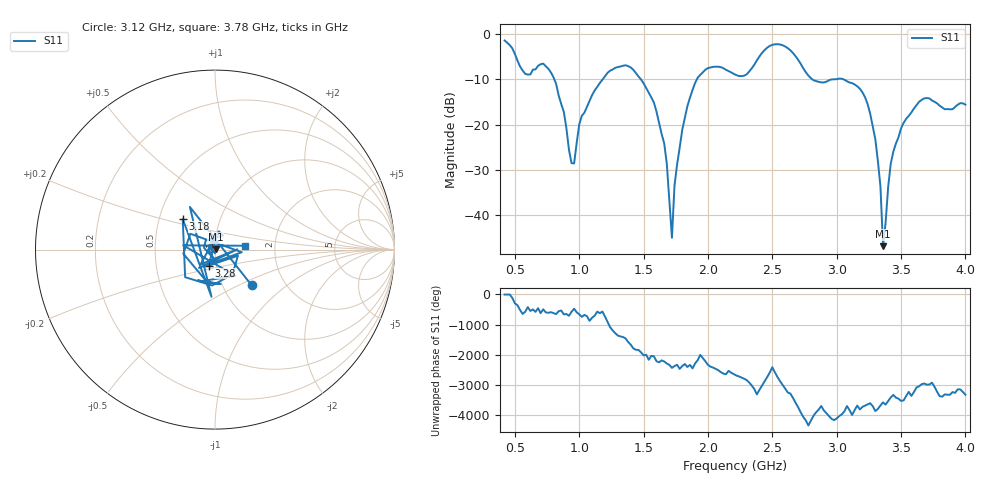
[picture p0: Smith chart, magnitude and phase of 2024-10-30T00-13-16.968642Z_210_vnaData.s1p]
!Created with skrf (http://scikit-rf.org).
# Hz S RI R 50.0
!freq ReS11 ImS11
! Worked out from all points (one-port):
!   180 points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, 420 MHz to 4 GHz, reference 50 ohm
!   lowest |S11| = -46.8 dB at 3.36 GHz (marker M1), VSWR 1.01, Z = 50.4 + j0.101 ohm
!   |S11| at or under -10 dB: 805.6 MHz to 1.183 GHz (377.7 MHz wide, 38 % of centre); 1.478 GHz to 1.915 GHz (436.8 MHz wide, 25.7 % of centre); 3.048 GHz to end of sweep (the widest 3 of 4)
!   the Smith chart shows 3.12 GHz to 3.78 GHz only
!   S11 on the Smith chart (normalised r, x): 3.12 GHz: 1.37, -0.59; 3.18 GHz: 0.66, +0.24; 3.28 GHz: 0.92, -0.17; 3.78 GHz: 1.41, +0.06
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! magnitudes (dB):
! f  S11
! 420 MHz  -1.5
! 580 MHz  -8.8
! 760 MHz  -7.7
! 880 MHz  -17.2
! 940 MHz  -28.5
! 960 MHz  -28.6
! 1.02 GHz  -18.1
! 1.32 GHz  -7.2
! 1.58 GHz  -15.1
! 1.66 GHz  -24.1
! 1.72 GHz  -44.9
! 1.74 GHz  -33.4
! 1.78 GHz  -25.1
! 1.84 GHz  -16.0
! 1.92 GHz  -9.7
! 2.22 GHz  -9.1
! 2.5 GHz  -2.5
! 2.66 GHz  -4.2
! 2.82 GHz  -10.2
! 3.12 GHz  -10.9
! 3.18 GHz  -12.1
! 3.28 GHz  -20.4
! 3.34 GHz  -33.6
! 3.36 GHz  -46.8
! 3.42 GHz  -28.6
! 3.56 GHz  -18.1
! 3.78 GHz  -15.3
! 4 GHz  -15.6
